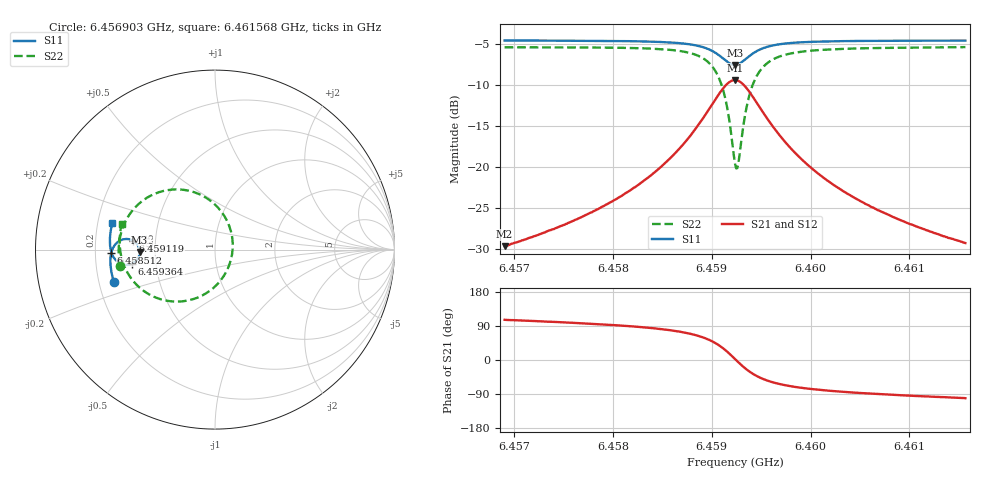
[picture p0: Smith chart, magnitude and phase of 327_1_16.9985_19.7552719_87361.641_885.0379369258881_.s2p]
#  HZ  S  RI  R  50.00
! Rohde & Schwarz Vector Network Analyzer
! Rohde-Schwarz,ZNB20-2Port,1311601062101988,3.16
! Created: UTC 3/20/2024, 11:06:45 PM
! freq[Hz]  re:S11  im:S11  re:S21  im:S21  re:S12  im:S12  re:S22  im:S22
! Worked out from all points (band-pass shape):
!   401 points, 6.456903 GHz to 6.461568 GHz, reference 50 ohm
!   highest |S21| = -9.38 dB at 6.459235 GHz (marker M1); lowest = -29.6 dB at 6.456903 GHz (marker M2)
!   |S21| within 3 dB of the highest: 6.459002 GHz to 6.459469 GHz (466.8 kHz wide, 0.00723 % of centre)
!   lowest |S11| = -7.5 dB at 6.459235 GHz (marker M3), VSWR 2.45, Z = 20.4 - j0.638 ohm
!   |S11| at or under -10 dB: nowhere
!   |S22| runs from -20.1 to -5.4 dB; largest |S21 - S12| = 0.013
!   S11 on the Smith chart (normalised r, x): 6.456903 GHz: 0.26, -0.14; 6.458512 GHz: 0.27, -0.02; 6.459119 GHz: 0.37, +0.05; 6.459364 GHz: 0.37, -0.07; 6.461568 GHz: 0.26, +0.12
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6.4569031e9  -0.5648 -0.1779  -0.00917 0.0318  -0.0074 0.0318  -0.5302 -0.0902
6.4576844e9  -0.5797 -0.1099  -0.00588 0.0495  -0.00352 0.0489  -0.5367 -0.000187
6.4581276e9  -0.5831 -0.0657  8.52e-05 0.0696  0.00318 0.0681  -0.5289 0.069
6.4584658e9  -0.5796 -0.0255  0.0133 0.0973  0.0171 0.0947  -0.5049 0.1442
6.4585124e9  -0.5783 -0.0192  0.0166 0.1026  0.0206 0.0998  -0.4989 0.1571
6.4587224e9  -0.5664 0.0127  0.0423 0.1341  0.0464 0.1293  -0.4511 0.2281
6.458874e9  -0.5454 0.039  0.0841 0.1641  0.0875 0.1575  -0.3742 0.2918
6.4590256e9  -0.4997 0.0589  0.1747 0.1831  0.1758 0.1757  -0.2094 0.3354
6.4591189e9  -0.4556 0.0492  0.2633 0.1526  0.2637 0.1466  -0.0461 0.2867
6.4591655e9  -0.4347 0.0306  0.3064 0.1106  0.3076 0.1052  0.0351 0.2121
6.4592355e9  -0.4199 -0.0129  0.3394 0.0155  0.3428 0.0085  0.0988 0.0363
6.4592471e9  -0.4203 -0.0209  0.3393 -0.00203  0.3428 -0.00971  0.0984 0.00363
6.4592705e9  -0.4237 -0.0363  0.3338 -0.0361  0.3373 -0.0452  0.0876 -0.0606
6.4593638e9  -0.4607 -0.0779  0.2649 -0.1356  0.264 -0.1484  -0.0509 -0.2441
6.4594104e9  -0.4834 -0.0847  0.2214 -0.1579  0.2174 -0.1704  -0.1378 -0.2805
6.4594687e9  -0.5081 -0.084  0.1728 -0.1672  0.1665 -0.1779  -0.2329 -0.289
6.4596203e9  -0.5491 -0.0624  0.091 -0.1514  0.0827 -0.1571  -0.3873 -0.2368
6.4597836e9  -0.5694 -0.035  0.0491 -0.1245  0.0417 -0.1271  -0.4619 -0.167
6.4600168e9  -0.5811 -0.00126  0.0223 -0.0954  0.0166 -0.096  -0.5056 -0.0909
6.4603667e9  -0.5857 0.0399  0.00636 -0.0691  0.00248 -0.0687  -0.5269 -0.0127
6.4607982e9  -0.5837 0.083  -0.00128 -0.051  -0.00401 -0.0502  -0.5311 0.0551
6.4615679e9  -0.5715 0.1509  -0.00645 -0.034  -0.00804 -0.0331  -0.5198 0.1446
